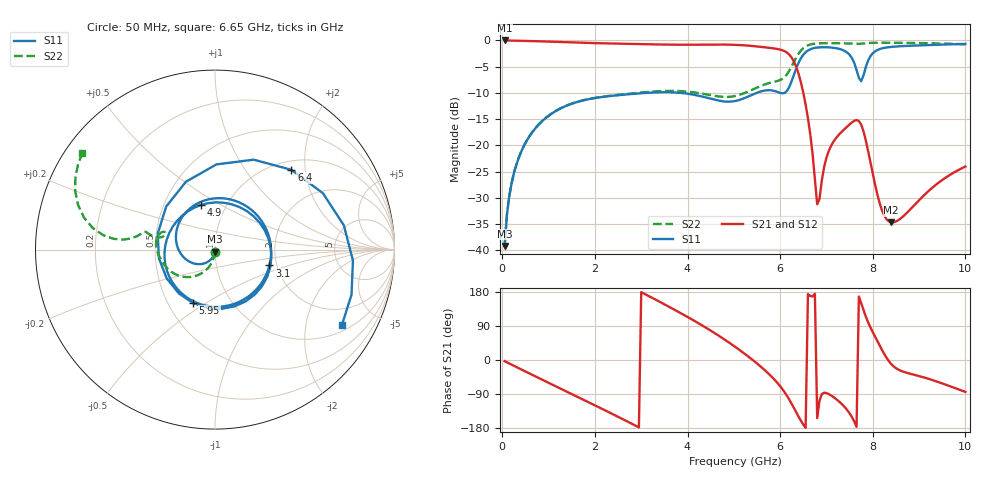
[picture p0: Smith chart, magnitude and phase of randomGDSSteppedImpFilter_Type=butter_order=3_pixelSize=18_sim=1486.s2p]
! freq	dB(S11)	phase(S11)	dB(S12)	phase(S12)
!  dB(S21)	phase(S21)	dB(S22)	phase(S22)
!S-par simulation data
#  GHz  S  DB  R 50
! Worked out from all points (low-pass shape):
!   200 points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, 50 MHz to 10 GHz, reference 50 ohm
!   highest |S21| = -0.01 dB at 50 MHz (marker M1); lowest = -34.7 dB at 8.4 GHz (marker M2)
!   |S21| within 3 dB of the highest: start of sweep to 6.225 GHz
!   lowest |S11| = -39.2 dB at 50 MHz (marker M3), VSWR 1.02, Z = 49.9 - j1.09 ohm
!   |S11| at or under -10 dB: start of sweep to 3.114 GHz; 3.851 GHz to 5.493 GHz (1.642 GHz wide, 35.1 % of centre); 6.002 GHz to 6.097 GHz (94.87 MHz wide, 1.57 % of centre)
!   |S22| runs from -39.2 to -0.4 dB; largest |S21 - S12| = 0
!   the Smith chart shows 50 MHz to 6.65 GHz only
!   S11 on the Smith chart (normalised r, x): 50 MHz: 1.00, -0.02; 3.1 GHz: 1.83, -0.36; 4.9 GHz: 0.76, +0.40; 5.95 GHz: 0.66, -0.44; 6.4 GHz: 1.18, +1.69; 6.65 GHz: 1.23, -3.20
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0.05  -39.22 -93.9  -0.01 -3.1  -0.01 -3.1  -39.23 -91.6
0.5  -19.56 -131.1  -0.09 -30.3  -0.09 -30.3  -19.52 -110.1
1.75  -11.43 121.3  -0.46 -104.7  -0.46 -104.7  -11.39 -151.7
3.1  -10.01 -16.2  -0.72 172.7  -0.72 172.7  -9.85 -178.3
3.4  -9.88 -49.0  -0.78 153.6  -0.78 153.6  -9.67 176.4
4.2  -10.47 -142.4  -0.81 99.6  -0.81 99.6  -9.98 162.9
4.9  -11.68 107.8  -0.81 45.7  -0.81 45.7  -10.76 163.5
5.05  -11.51 79.3  -0.85 32.9  -0.85 32.9  -10.56 165.6
5.95  -9.84 -112.4  -1.65 -61.7  -1.65 -61.7  -7.71 166.6
6.2  -8.82 138.7  -2.73 -105.1  -2.73 -105.1  -5.73 173.8
6.4  -4.21 46.2  -6.43 -149.9  -6.43 -149.9  -2.49 166.3
6.65  -1.69 -30.8  -17.89 168.9  -17.89 168.9  -0.78 143.9
6.7  -1.54 -42.2  -21.61 167.5  -21.61 167.5  -0.68 139.9
6.8  -1.36 -62.5  -31.24 -153.5  -31.24 -153.5  -0.57 132.8
7.4  -2.03 -165.8  -16.82 -125.1  -16.82 -125.1  -0.56 101.1
7.65  -5.63 106.3  -15.18 -176.3  -15.18 -176.3  -0.64 90.5
7.8  -6.67 -25.4  -17.33 131.4  -17.33 131.4  -0.58 84.8
7.95  -3.00 -103.8  -23.27 85.9  -23.27 85.9  -0.47 78.3
8.35  -1.28 179.9  -34.53 -3.5  -34.53 -3.5  -0.44 61.1
8.4  -1.23 173.7  -34.69 -10.8  -34.69 -10.8  -0.44 59.0
9.15  -0.90 100.3  -29.16 -47.6  -29.16 -47.6  -0.52 27.6
10  -0.66 38.5  -24.05 -84.2  -24.05 -84.2  -0.74 -8.3
